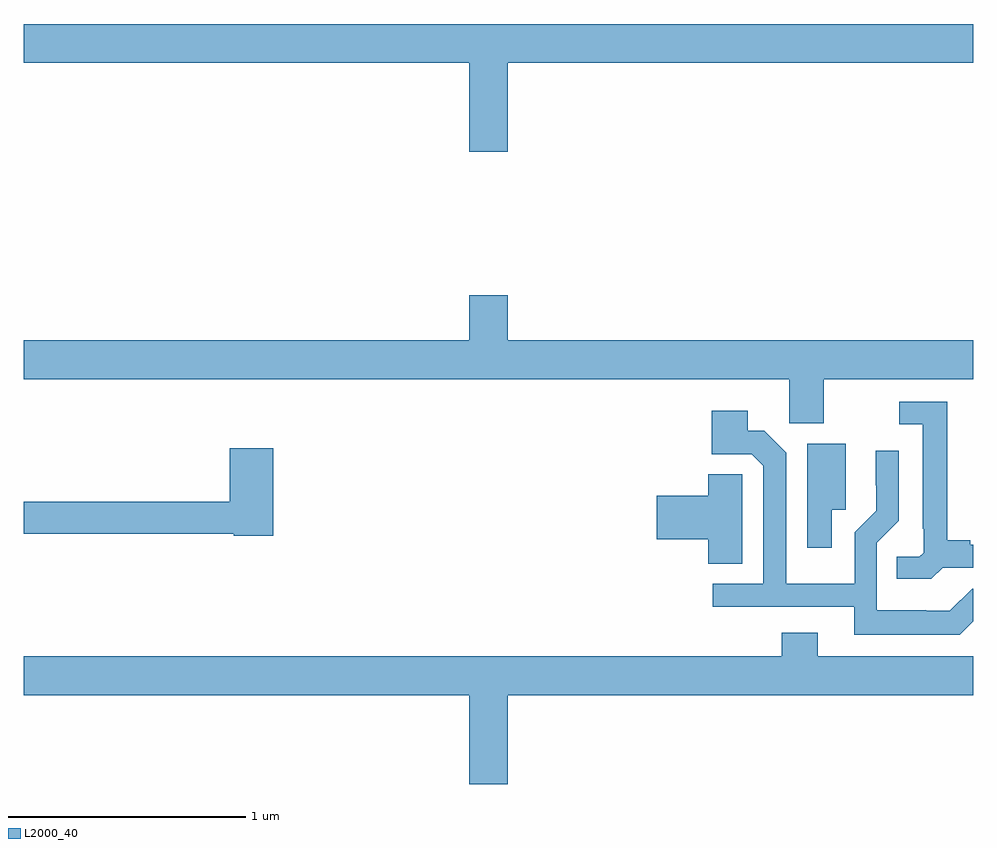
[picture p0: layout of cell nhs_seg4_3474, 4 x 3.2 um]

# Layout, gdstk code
import gdstk
lib = gdstk.Library(unit=1e-6, precision=1e-09)
def P(c, l, *ps):  # polygons
    for p in ps: c.add(gdstk.Polygon(p, *l))
L2000_40 = (2000, 40)

nhs_seg4_3474 = lib.new_cell('nhs_seg4_3474')
P(nhs_seg4_3474, L2000_40, [(297.04,762.188),(299,762.188),(299,762.352),(295,762.352),(295,762.188),(296.876,762.188),(296.876,761.814),(297.04,761.814)],
  [(298.371,760.856),(299,760.856),(299,761.02),(297.04,761.02),(297.04,761.209),(296.876,761.209),(296.876,761.02),(295,761.02),(295,760.856),(298.224,760.856),(298.224,760.669),(298.371,760.669)],
  [(298.872,760.062),(299,760.062),(299,760.158),(298.987,760.158),(298.987,760.178),(298.891,760.178),(298.891,760.761),(298.689,760.761),(298.689,760.665),(298.787,760.665),(298.787,760.225),(298.791,760.225),(298.791,760.125),(298.773,760.107),(298.678,760.107),(298.678,760.015),(298.824,760.015)],
  [(299,759.836),(299,759.972),(298.995,759.972),(298.902,759.879),(298.802,759.879),(298.802,759.883),(298.593,759.883),(298.593,760.167),(298.686,760.26),(298.686,760.555),(298.59,760.555),(298.59,760.408),(298.592,760.408),(298.592,760.302),(298.5,760.21),(298.5,759.994),(298.212,759.994),(298.212,760.545),(298.119,760.638),(298.051,760.638),(298.051,760.723),(297.899,760.723),(297.899,760.539),(298.068,760.539),(298.116,760.491),(298.116,759.993),(297.903,759.993),(297.903,759.897),(298.499,759.897),(298.499,759.779),(298.943,759.779)],
  [(298.405,760.305),(298.462,760.305),(298.462,760.584),(298.301,760.584),(298.301,760.146),(298.405,760.146)],
  [(296.051,760.564),(295.868,760.564),(295.868,760.34),(295,760.34),(295,760.204),(295.884,760.204),(295.884,760.196),(296.051,760.196)],
  [(298.027,760.346),(298.026,760.346),(298.026,760.454),(297.884,760.454),(297.884,760.364),(297.666,760.364),(297.666,760.181),(297.884,760.181),(297.884,760.078),(298.027,760.078)],
  [(297.04,759.524),(299,759.524),(299,759.688),(298.345,759.688),(298.345,759.787),(298.193,759.787),(298.193,759.688),(295,759.688),(295,759.524),(296.876,759.524),(296.876,759.15),(297.04,759.15)])

lib.write_gds('nhs_seg4_3474.gds')
